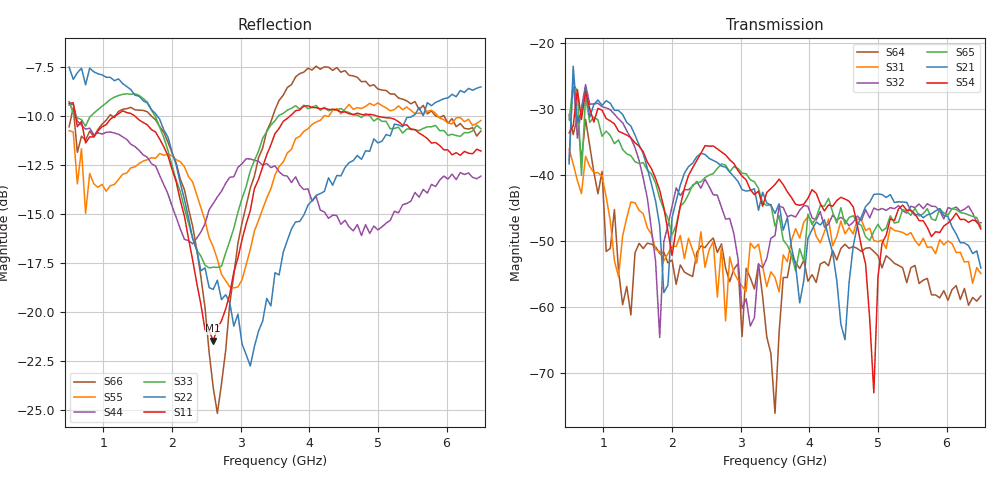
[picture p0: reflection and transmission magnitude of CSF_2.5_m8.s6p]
!Keysight Technologies,M9804A,MY58100912,A.14.10.03
!Date: Thursday, April 27, 2023 10:28:33
!Correction: S11(C  6-Port  )
!S12(C  6-Port  )
!S13(C  6-Port  )
!S14(C  6-Port  )
!S15(C  6-Port  )
!S16(C  6-Port  )
!S21(C  6-Port  )
!S22(C  6-Port  )
!S23(C  6-Port  )
!S24(C  6-Port  )
!S25(C  6-Port  )
!S26(C  6-Port  )
!S31(C  6-Port  )
!S32(C  6-Port  )
!S33(C  6-Port  )
!S34(C  6-Port  )
!S35(C  6-Port  )
!S36(C  6-Port  )
!S41(C  6-Port  )
!S42(C  6-Port  )
!S43(C  6-Port  )
!S44(C  6-Port  )
!S45(C  6-Port  )
!S46(C  6-Port  )
!S51(C  6-Port  )
!S52(C  6-Port  )
!S53(C  6-Port  )
!S54(C  6-Port  )
!S55(C  6-Port  )
!S56(C  6-Port  )
!S61(C  6-Port  )
!S62(C  6-Port  )
!S63(C  6-Port  )
!S64(C  6-Port  )
!S65(C  6-Port  )
!S66(C  6-Port  )
!S6P File: Measurement: :
# Hz S  RI  R 50
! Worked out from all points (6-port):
!   101 points, 500 MHz to 6.5 GHz, reference 50 ohm
!   strongest paths, dB at 500 MHz, 2 GHz, 3.5 GHz, 5 GHz, 6.5 GHz:
!     S54: -33.6, -52.2, -41.4, -55.5, -48.2
!     S21: -38.3, -46.5, -45.8, -42.9, -54.1
!     S65: -31.6, -49.1, -47.8, -47.5, -47.9
!     S32: -37.8, -44.7, -49.2, -45.3, -47.2
!     S31: -36.1, -50.8, -55.6, -50.1, -54.9
!     S64: -30.9, -52.9, -76.1, -52.2, -58.3
!   lowest |S11| = -21.4 dB at 2.6 GHz (marker M1), VSWR 1.19, Z = 42.5 + j2.25 ohm
!   |S11| at or under -10 dB: 593.9 MHz to 1.157 GHz (562.9 MHz wide, 64.3 % of centre); 1.462 GHz to 3.716 GHz (2.254 GHz wide, 87 % of centre); 4.991 GHz to end of sweep
